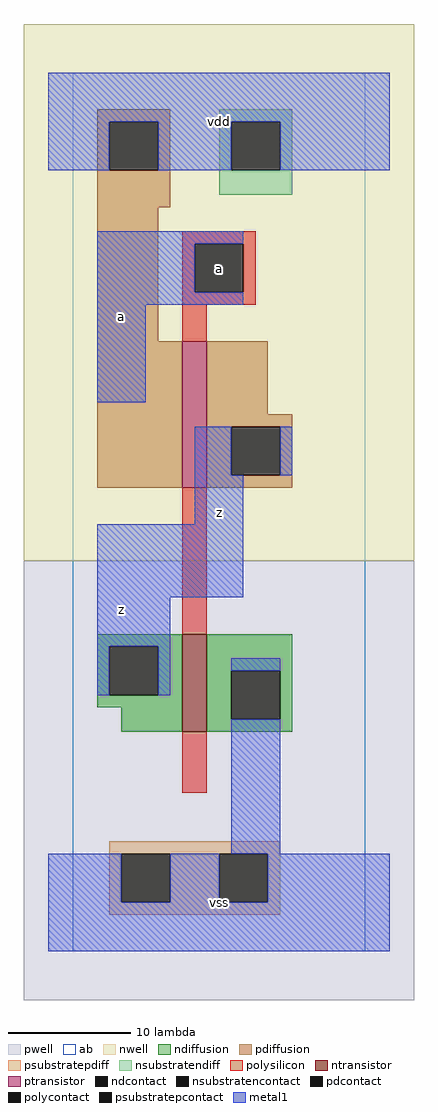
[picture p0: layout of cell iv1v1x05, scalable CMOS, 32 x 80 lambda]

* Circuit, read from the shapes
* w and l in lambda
.subckt iv1v1x05 a vdd vss z
M1 vss a z vss nfet w=8 l=2
M2 z a vdd vdd pfet w=12 l=2
.ends

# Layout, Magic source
magic
tech scmos
<< ab >>
rect 0 0 24 72
<< pwell >>
rect -4 -4 28 32
<< nwell >>
rect -4 32 28 76
<< polysilicon >>
rect 9 58 15 59
rect 9 54 10 58
rect 14 54 15 58
rect 9 53 15 54
rect 9 50 11 53
rect 9 26 11 38
rect 9 13 11 18
<< ndiffusion >>
rect 2 25 9 26
rect 2 21 3 25
rect 7 21 9 25
rect 2 20 9 21
rect 4 18 9 20
rect 11 23 18 26
rect 11 19 13 23
rect 17 19 18 23
rect 11 18 18 19
<< pdiffusion >>
rect 2 68 8 69
rect 2 64 3 68
rect 7 64 8 68
rect 2 61 8 64
rect 2 50 7 61
rect 2 38 9 50
rect 11 44 16 50
rect 11 43 18 44
rect 11 39 13 43
rect 17 39 18 43
rect 11 38 18 39
<< metal1 >>
rect -2 68 26 72
rect -2 64 3 68
rect 7 64 13 68
rect 17 64 26 68
rect 2 58 14 59
rect 2 54 10 58
rect 2 53 14 54
rect 2 45 6 53
rect 10 39 13 43
rect 17 39 18 43
rect 10 35 14 39
rect 2 29 14 35
rect 2 25 8 29
rect 2 21 3 25
rect 7 21 8 25
rect 13 23 17 24
rect 13 8 17 19
rect -2 4 4 8
rect 8 4 12 8
rect 16 4 26 8
rect -2 0 26 4
<< ntransistor >>
rect 9 18 11 26
<< ptransistor >>
rect 9 38 11 50
<< polycontact >>
rect 10 54 14 58
<< ndcontact >>
rect 3 21 7 25
rect 13 19 17 23
<< pdcontact >>
rect 3 64 7 68
rect 13 39 17 43
<< psubstratepcontact >>
rect 4 4 8 8
rect 12 4 16 8
<< nsubstratencontact >>
rect 13 64 17 68
<< psubstratepdiff >>
rect 3 8 17 9
rect 3 4 4 8
rect 8 4 12 8
rect 16 4 17 8
rect 3 3 17 4
<< nsubstratendiff >>
rect 12 68 18 69
rect 12 64 13 68
rect 17 64 18 68
rect 12 62 18 64
<< labels >>
rlabel metal1 4 28 4 28 6 z
rlabel metal1 4 52 4 52 6 a
rlabel metal1 12 4 12 4 6 vss
rlabel metal1 12 36 12 36 6 z
rlabel polycontact 12 56 12 56 6 a
rlabel metal1 12 68 12 68 6 vdd
<< end >>
